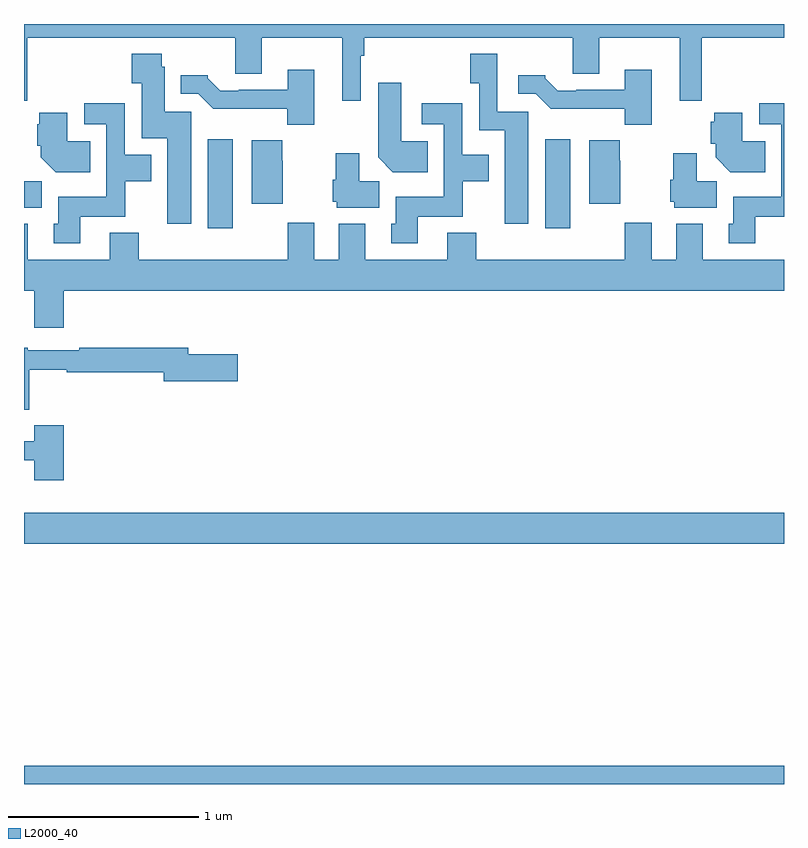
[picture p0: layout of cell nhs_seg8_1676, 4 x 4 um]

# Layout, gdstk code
import gdstk
lib = gdstk.Library(unit=1e-6, precision=1e-09)
def R(c, l, rs):  # rectangles x0, y0, x1, y1
    for r in rs: c.add(gdstk.rectangle(r[:2], r[2:], *l))
def P(c, l, *ps):  # polygons
    for p in ps: c.add(gdstk.Polygon(p, *l))
L2000_40 = (2000, 40)

nhs_seg8_1676 = lib.new_cell('nhs_seg8_1676')
R(nhs_seg8_1676, L2000_40, [(217,1117.9,221,1117.996), (217,1119.164,221,1119.328), (217.967,1120.824,218.098,1121.293), (219.743,1120.824,219.874,1121.293), (217,1120.934,217.093,1121.072)])
P(nhs_seg8_1676, L2000_40, [(217.016,1121.828),(218.111,1121.828),(218.111,1121.638),(218.251,1121.638),(218.251,1121.828),(218.675,1121.828),(218.675,1121.496),(218.772,1121.496),(218.772,1121.732),(218.792,1121.732),(218.792,1121.828),(219.887,1121.828),(219.887,1121.638),(220.027,1121.638),(220.027,1121.828),(220.451,1121.828),(220.451,1121.496),(220.568,1121.496),(220.568,1121.828),(221,1121.828),(221,1121.9),(217,1121.9),(217,1121.496),(217.016,1121.496)],
  [(219.655,1121.439),(219.492,1121.439),(219.492,1121.743),(219.349,1121.743),(219.349,1121.587),(219.396,1121.587),(219.396,1121.342),(219.53,1121.342),(219.53,1120.848),(219.655,1120.848)],
  [(217.879,1121.439),(217.741,1121.439),(217.741,1121.676),(217.725,1121.676),(217.725,1121.743),(217.568,1121.743),(217.568,1121.587),(217.619,1121.587),(217.619,1121.3),(217.754,1121.3),(217.754,1120.848),(217.879,1120.848)],
  [(220.303,1121.659),(220.163,1121.659),(220.163,1121.553),(219.907,1121.553),(219.907,1121.55),(219.808,1121.55),(219.744,1121.614),(219.744,1121.629),(219.6,1121.629),(219.6,1121.532),(219.693,1121.532),(219.772,1121.454),(220.161,1121.454),(220.161,1121.369),(220.303,1121.369)],
  [(218.527,1121.659),(218.387,1121.659),(218.387,1121.553),(218.131,1121.553),(218.131,1121.55),(218.032,1121.55),(217.968,1121.614),(217.968,1121.629),(217.826,1121.629),(217.826,1121.532),(217.917,1121.532),(217.996,1121.454),(218.385,1121.454),(218.385,1121.369),(218.527,1121.369)],
  [(219.125,1121.284),(218.986,1121.284),(218.986,1121.59),(218.864,1121.59),(218.864,1121.198),(218.942,1121.12),(219.125,1121.12)],
  [(219.073,1120.886),(219.309,1120.886),(219.309,1121.072),(219.445,1121.072),(219.445,1121.212),(219.306,1121.212),(219.306,1121.482),(219.093,1121.482),(219.093,1121.373),(219.21,1121.373),(219.21,1120.99),(218.957,1120.99),(218.957,1120.848),(218.933,1120.848),(218.933,1120.746),(219.073,1120.746)],
  [(220.849,1120.886),(221,1120.886),(221,1121.482),(220.869,1121.482),(220.869,1121.373),(220.986,1121.373),(220.986,1120.99),(220.733,1120.99),(220.733,1120.848),(220.709,1120.848),(220.709,1120.746),(220.849,1120.746)],
  [(217.297,1120.886),(217.533,1120.886),(217.533,1121.072),(217.669,1121.072),(217.669,1121.212),(217.53,1121.212),(217.53,1121.482),(217.317,1121.482),(217.317,1121.373),(217.434,1121.373),(217.434,1120.99),(217.181,1120.99),(217.181,1120.848),(217.157,1120.848),(217.157,1120.746),(217.297,1120.746)],
  [(220.901,1121.284),(220.78,1121.284),(220.78,1121.434),(220.633,1121.434),(220.633,1121.385),(220.615,1121.385),(220.615,1121.271),(220.64,1121.271),(220.64,1121.198),(220.718,1121.12),(220.901,1121.12)],
  [(217.349,1121.284),(217.228,1121.284),(217.228,1121.434),(217.081,1121.434),(217.081,1121.373),(217.07,1121.373),(217.07,1121.259),(217.088,1121.259),(217.088,1121.198),(217.166,1121.12),(217.349,1121.12)],
  [(218.362,1121.18),(218.36,1121.18),(218.36,1121.287),(218.198,1121.287),(218.198,1120.953),(218.362,1120.953)],
  [(220.138,1121.18),(220.136,1121.18),(220.136,1121.287),(219.974,1121.287),(219.974,1120.953),(220.138,1120.953)],
  [(220.645,1121.072),(220.54,1121.072),(220.54,1121.221),(220.418,1121.221),(220.418,1121.079),(220.4,1121.079),(220.4,1120.965),(220.422,1120.965),(220.422,1120.934),(220.645,1120.934)],
  [(218.869,1121.072),(218.764,1121.072),(218.764,1121.221),(218.642,1121.221),(218.642,1121.079),(218.624,1121.079),(218.624,1120.965),(218.646,1120.965),(218.646,1120.934),(218.869,1120.934)],
  [(217.208,1120.496),(221,1120.496),(221,1120.66),(220.573,1120.66),(220.573,1120.849),(220.433,1120.849),(220.433,1120.66),(220.303,1120.66),(220.303,1120.855),(220.163,1120.855),(220.163,1120.66),(219.38,1120.66),(219.38,1120.801),(219.227,1120.801),(219.227,1120.66),(218.797,1120.66),(218.797,1120.849),(218.657,1120.849),(218.657,1120.66),(218.527,1120.66),(218.527,1120.855),(218.387,1120.855),(218.387,1120.66),(217.604,1120.66),(217.604,1120.801),(217.451,1120.801),(217.451,1120.66),(217.021,1120.66),(217.021,1120.849),(217,1120.849),(217,1120.496),(217.055,1120.496),(217.055,1120.302),(217.208,1120.302)],
  [(217.028,1120.081),(217.226,1120.081),(217.226,1120.066),(217.736,1120.066),(217.736,1120.019),(218.125,1120.019),(218.125,1120.161),(217.864,1120.161),(217.864,1120.195),(217.291,1120.195),(217.291,1120.182),(217.021,1120.182),(217.021,1120.195),(217,1120.195),(217,1119.869),(217.028,1119.869)],
  [(217.208,1119.787),(217.053,1119.787),(217.053,1119.703),(217,1119.703),(217,1119.603),(217.055,1119.603),(217.055,1119.498),(217.208,1119.498)])

lib.write_gds('nhs_seg8_1676.gds')
